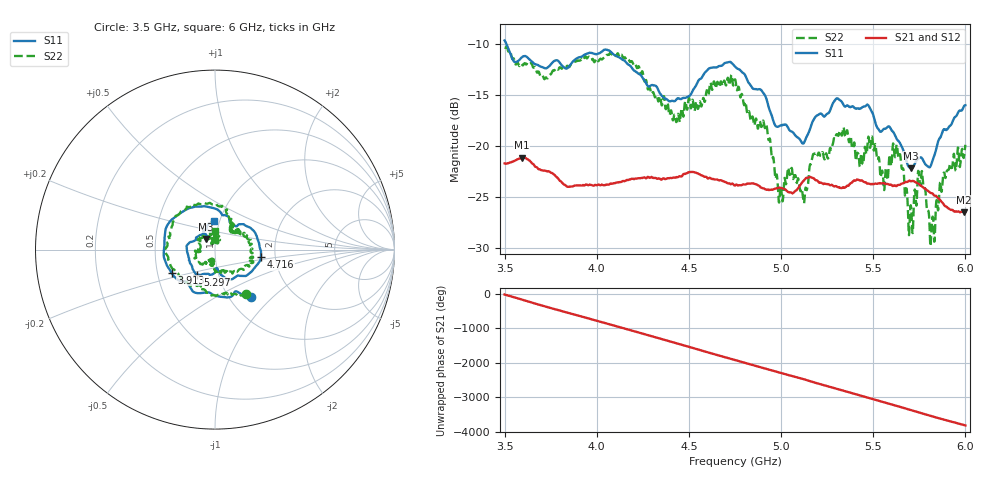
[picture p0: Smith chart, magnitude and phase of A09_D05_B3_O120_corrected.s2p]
! Created with skrf 1.9.0 (http://scikit-rf.org).
# Hz S RI R 50.0
!freq ReS11 ImS11 ReS21 ImS21 ReS12 ImS12 ReS22 ImS22
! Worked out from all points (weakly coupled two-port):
!   1601 points, 3.5 GHz to 6 GHz, reference 50 ohm
!   highest |S21| = -21.12 dB at 3.592 GHz (marker M1); lowest = -26.5 dB at 5.994 GHz (marker M2)
!   lowest |S11| = -22.2 dB at 5.706 GHz (marker M3), VSWR 1.17, Z = 44.9 + j5.41 ohm
!   |S11| at or under -10 dB: 3.511 GHz to end of sweep
!   |S22| runs from -29.8 to -10.2 dB; largest |S21 - S12| = 0.00097
!   S11 on the Smith chart (normalised r, x): 3.5 GHz: 1.26, -0.74; 3.913 GHz: 0.59, -0.16; 4.716 GHz: 1.68, -0.16; 5.297 GHz: 0.79, -0.23; 6 GHz: 0.94, +0.31
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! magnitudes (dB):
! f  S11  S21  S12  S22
! 3.5 GHz  -9.6  -21.7  -21.7  -10.3
! 3.592 GHz  -11.3  -21.1  -21.1  -11.9
! 3.913 GHz  -11.2  -23.9  -23.8  -11.5
! 3.917 GHz  -11.2  -23.9  -23.8  -11.5
! 4.334 GHz  -14.5  -23.2  -23.1  -15.6
! 4.441 GHz  -15.3  -23.0  -23.0  -16.8
! 4.716 GHz  -11.7  -23.7  -23.7  -13.7
! 4.75 GHz  -12.2  -23.9  -23.8  -13.4
! 4.914 GHz  -15.0  -24.2  -24.2  -18.2
! 4.998 GHz  -18.0  -24.1  -24.1  -23.9
! 5.048 GHz  -18.5  -24.5  -24.5  -22.8
! 5.13 GHz  -19.5  -23.3  -23.2  -24.7
! 5.167 GHz  -17.8  -23.1  -23.1  -21.3
! 5.297 GHz  -15.4  -23.9  -23.9  -19.0
! 5.584 GHz  -18.1  -23.8  -23.7  -21.6
! 5.638 GHz  -19.5  -23.8  -23.8  -21.2
! 5.706 GHz  -22.2  -23.4  -23.4  -26.2
! 5.755 GHz  -21.1  -23.8  -23.8  -23.8
! 5.822 GHz  -21.4  -24.6  -24.6  -26.9
! 5.873 GHz  -18.7  -25.5  -25.5  -24.2
! 5.994 GHz  -16.0  -26.5  -26.4  -20.8
! 6 GHz  -16.0  -26.5  -26.4  -19.9
